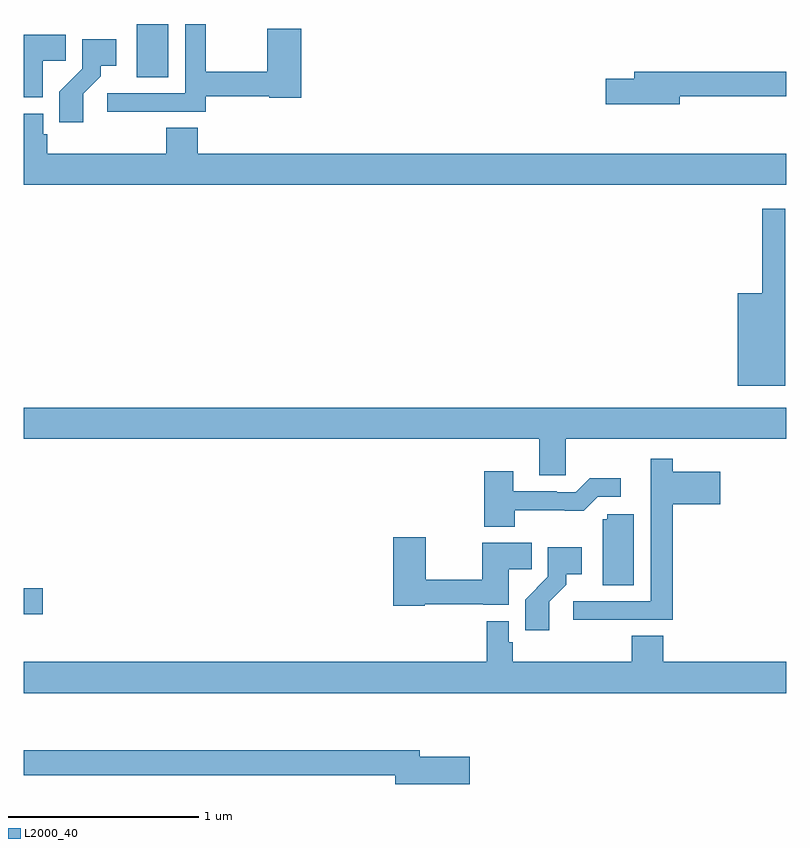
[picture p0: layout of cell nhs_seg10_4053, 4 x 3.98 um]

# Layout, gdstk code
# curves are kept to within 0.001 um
import gdstk
lib = gdstk.Library(unit=1e-6, precision=1e-09)
def R(c, l, rs):  # rectangles x0, y0, x1, y1
    for r in rs: c.add(gdstk.rectangle(r[:2], r[2:], *l))
def P(c, l, *ps):  # polygons
    for p in ps: c.add(gdstk.Polygon(p, *l))
L2000_40 = (2000, 40)

nhs_seg10_4053 = lib.new_cell('nhs_seg10_4053')
R(nhs_seg10_4053, L2000_40, [(335,1291.406,335.101,1291.541), (335.594,1294.222,335.758,1294.5)])
P(nhs_seg10_4053, L2000_40, [(335.663,1294.041),(335.956,1294.041),(335.956,1294.122),(336.288,1294.122),(336.288,1294.114),(336.455,1294.114),(336.455,1294.474),(336.277,1294.474),(336.277,1294.25),(335.956,1294.25),(335.956,1294.5),(335.847,1294.5),(335.847,1294.137),(335.439,1294.137),(335.439,1294.039),(335.663,1294.039)],
  [(335.101,1294.306),(335.222,1294.306),(335.222,1294.444),(335,1294.444),(335,1294.115),(335.101,1294.115)],
  [(335.314,1294.135),(335.404,1294.225),(335.404,1294.28),(335.485,1294.28),(335.485,1294.42),(335.307,1294.42),(335.307,1294.265),(335.188,1294.146),(335.188,1293.984),(335.314,1293.984)],
  [(338.44,1294.122),(339,1294.122),(339,1294.25),(338.201,1294.25),(338.201,1294.214),(338.052,1294.214),(338.052,1294.079),(338.44,1294.079)],
  [(335.747,1293.956),(335.747,1293.82),(335.123,1293.82),(335.123,1293.921),(335.103,1293.921),(335.103,1294.03),(335,1294.03),(335,1293.656),(339,1293.656),(339,1293.82),(335.912,1293.82),(335.912,1293.956)],
  [(338.995,1293.532),(338.874,1293.532),(338.874,1293.088),(338.744,1293.088),(338.744,1292.603),(338.995,1292.603)],
  [(337.842,1292.324),(339,1292.324),(339,1292.488),(335,1292.488),(335,1292.324),(337.703,1292.324),(337.703,1292.134),(337.842,1292.134)],
  [(338.105,1291.377),(338.405,1291.377),(338.405,1291.982),(338.653,1291.982),(338.653,1292.152),(338.405,1292.152),(338.405,1292.221),(338.288,1292.221),(338.288,1291.998),(338.289,1291.998),(338.289,1291.473),(337.881,1291.473),(337.881,1291.375),(338.105,1291.375)],
  [(337.575,1291.95),(337.937,1291.949),(338.01,1292.022),(338.131,1292.022),(338.131,1292.119),(337.969,1292.119),(337.896,1292.046),(337.796,1292.046),(337.796,1292.049),(337.567,1292.049),(337.567,1292.155),(337.415,1292.155),(337.415,1291.865),(337.575,1291.865)],
  [(338.2,1291.929),(338.061,1291.929),(338.061,1291.902),(338.036,1291.902),(338.036,1291.558),(338.2,1291.558)],
  [(337.104,1291.458),(337.41,1291.458),(337.41,1291.454),(337.543,1291.454),(337.543,1291.642),(337.664,1291.642),(337.664,1291.78),(337.406,1291.78),(337.406,1291.586),(337.108,1291.586),(337.108,1291.81),(336.938,1291.81),(336.938,1291.45),(337.104,1291.45)],
  [(337.756,1291.471),(337.846,1291.561),(337.846,1291.616),(337.927,1291.616),(337.927,1291.756),(337.749,1291.756),(337.749,1291.601),(337.63,1291.482),(337.63,1291.32),(337.756,1291.32)],
  [(339,1291.156),(338.354,1291.156),(338.354,1291.292),(338.189,1291.292),(338.189,1291.156),(337.565,1291.156),(337.565,1291.257),(337.545,1291.257),(337.545,1291.369),(337.429,1291.369),(337.429,1291.156),(335,1291.156),(335,1290.992),(339,1290.992)],
  [(337.339,1290.657),(337.078,1290.657),(337.078,1290.691),(335,1290.691),(335,1290.562),(336.95,1290.562),(336.95,1290.515),(337.339,1290.515)])

lib.write_gds('nhs_seg10_4053.gds')
